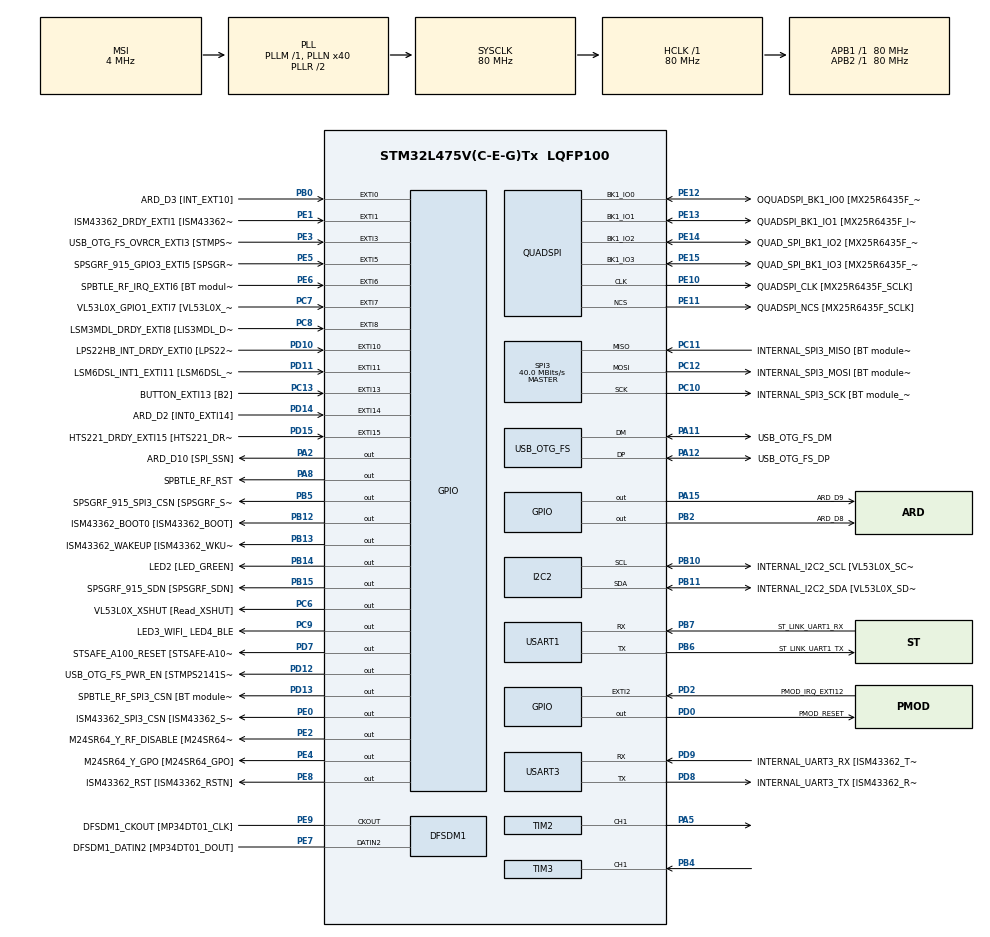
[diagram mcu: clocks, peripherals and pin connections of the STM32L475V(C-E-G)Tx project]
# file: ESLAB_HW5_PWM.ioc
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I2C2.Timing=0x10D19CE4
Mcu.Family=STM32L4
Mcu.Name=STM32L475V(C-E-G)Tx
Mcu.Package=LQFP100
NVIC.EXTI15_10_IRQn=true\:0\:0\:false\:false\:true\:true\:true\:true
NVIC.EXTI9_5_IRQn=true\:0\:0\:false\:false\:true\:true\:true\:true
NVIC.PriorityGroup=NVIC_PRIORITYGROUP_4
NVIC.TIM3_IRQn=true\:0\:0\:false\:false\:true\:true\:true\:true
PA0.GPIO_Label=ARD_D1 [UART4_TX]
PA0.Signal=UART4_TX
PA1.GPIO_Label=ARD_D0 [UART4_RX]
PA1.Signal=UART4_RX
PA10.GPIO_Label=USB_OTG_FS_ID
PA10.Signal=USB_OTG_FS_ID
PA11.GPIO_Label=USB_OTG_FS_DM
PA11.Mode=Device_Only
PA11.Signal=USB_OTG_FS_DM
PA12.GPIO_Label=USB_OTG_FS_DP
PA12.Mode=Device_Only
PA12.Signal=USB_OTG_FS_DP
PA13\ (JTMS-SWDIO).GPIO_Label=SYS_JTMS_SWDIO
PA13\ (JTMS-SWDIO).Mode=Serial_Wire
PA13\ (JTMS-SWDIO).Signal=SYS_JTMS-SWDIO
PA14\ (JTCK-SWCLK).GPIO_Label=SYS_JTCK_SWCLK
PA14\ (JTCK-SWCLK).Mode=Serial_Wire
PA14\ (JTCK-SWCLK).Signal=SYS_JTCK-SWCLK
PA15\ (JTDI).GPIO_Label=ARD_D9
PA15\ (JTDI).Signal=GPIO_Output
PA2.GPIO_Label=ARD_D10 [SPI_SSN]
PA2.Signal=GPIO_Output
PA3.GPIO_Label=ARD_D4
PA3.Signal=S_TIM2_CH4
PA4.GPIO_Label=ARD_D7
PA4.Signal=ADCx_IN9
PA5.Signal=S_TIM2_CH1
PA6.GPIO_Label=ARD_D12 [SPI1_MISO]
PA6.Signal=SPI1_MISO
PA7.GPIO_Label=ARD_D11 [SPI1_MOSI]
PA7.Signal=SPI1_MOSI
PA8.GPIO_Label=SPBTLE_RF_RST
PA8.Signal=GPIO_Output
PA9.GPIO_Label=USB_OTG_FS_VBUS [STMPS2141STR_OUT]
PA9.Signal=USB_OTG_FS_VBUS
PB0.GPIO_Label=ARD_D3 [INT_EXT10]
PB0.Signal=GPXTI0
PB1.GPIO_Label=ARD_D6 [ADC1_IN6]
PB1.Signal=ADCx_IN16
PB10.GPIO_Label=INTERNAL_I2C2_SCL [VL53L0X_SCL]
PB10.GPIO_Pu=GPIO_PULLUP
PB10.Mode=I2C
PB10.Signal=I2C2_SCL
PB11.GPIO_Label=INTERNAL_I2C2_SDA [VL53L0X_SDA]
PB11.GPIO_Pu=GPIO_PULLUP
PB11.Mode=I2C
PB11.Signal=I2C2_SDA
PB12.GPIO_Label=ISM43362_BOOT0 [ISM43362_BOOT]
PB12.Signal=GPIO_Output
PB13.GPIO_Label=ISM43362_WAKEUP [ISM43362_WKUP]
PB13.Signal=GPIO_Output
PB14.GPIO_Label=LED2 [LED_GREEN]
PB14.Signal=GPIO_Output
PB15.GPIO_Label=SPSGRF_915_SDN [SPSGRF_SDN]
PB15.Signal=GPIO_Output
PB2.GPIO_Label=ARD_D8
PB2.Signal=GPIO_Output
PB3\ (JTDO-TRACESWO).GPIO_Label=SYS_JTD0_SWO
PB3\ (JTDO-TRACESWO).Signal=SYS_JTDO-SWO
PB4\ (NJTRST).Signal=S_TIM3_CH1
PB5.GPIO_Label=SPSGRF_915_SPI3_CSN [SPSGRF_SPI_CS]
PB5.PinState=GPIO_PIN_SET
PB5.Signal=GPIO_Output
PB6.GPIO_Label=ST_LINK_UART1_TX
PB6.Mode=Asynchronous
PB6.Signal=USART1_TX
PB7.GPIO_Label=ST_LINK_UART1_RX
PB7.Mode=Asynchronous
PB7.Signal=USART1_RX
PB8.GPIO_Label=ARD_D15 [I2C1_SCL]
PB8.Signal=I2C1_SCL
PB9.GPIO_Label=ARD_D14 [I2C1_SDA]
PB9.Signal=I2C1_SDA
PC0.GPIO_Label=ARD_A5 [ADC]
PC0.Signal=ADCx_IN1
PC1.GPIO_Label=ARD_A4 [ADC]
PC1.Signal=ADCx_IN2
PC10.GPIO_Label=INTERNAL_SPI3_SCK [BT module_SPI_SCLK] [ISM43362_SCK]
PC10.Mode=Full_Duplex_Master
PC10.Signal=SPI3_SCK
PC11.GPIO_Label=INTERNAL_SPI3_MISO [BT module_SPI_MISO] [ISM43362_MISO]
PC11.Mode=Full_Duplex_Master
PC11.Signal=SPI3_MISO
PC12.GPIO_Label=INTERNAL_SPI3_MOSI [BT module_SPI_MOSI] [ISM43362_MOSI]
PC12.Mode=Full_Duplex_Master
PC12.Signal=SPI3_MOSI
PC13.GPIO_Label=BUTTON_EXTI13 [B2]
PC13.GPIO_ModeDefaultEXTI=GPIO_MODE_IT_FALLING
PC13.Signal=GPXTI13
PC14-OSC32_IN\ (PC14).Mode=LSE-External-Oscillator
PC14-OSC32_IN\ (PC14).Signal=RCC_OSC32_IN
PC15-OSC32_OUT\ (PC15).Mode=LSE-External-Oscillator
PC15-OSC32_OUT\ (PC15).Signal=RCC_OSC32_OUT
PC2.GPIO_Label=ARD_A3 [ADC]
PC2.Signal=ADCx_IN3
PC3.GPIO_Label=ARD_A2 [ADC]
PC3.Signal=ADCx_IN4
PC4.GPIO_Label=ARD_A1 [ADC]
PC4.Signal=ADCx_IN13
PC5.GPIO_Label=ARD_A0 [ADC]
PC5.Signal=ADCx_IN14
PC6.GPIO_Label=VL53L0X_XSHUT [Read_XSHUT]
PC6.Signal=GPIO_Output
PC7.GPIO_Label=VL53L0X_GPIO1_EXTI7 [VL53L0X_GPIO1]
PC7.Signal=GPXTI7
PC8.GPIO_Label=LSM3MDL_DRDY_EXTI8 [LIS3MDL_DRDY]
PC8.Signal=GPXTI8
PC9.GPIO_Label=LED3_WIFI_ LED4_BLE
PC9.Signal=GPIO_Output
PD0.GPIO_Label=PMOD_RESET
PD0.Signal=GPIO_Output
PD1.GPIO_Label=PMOD_SPI2_SCK
PD1.Signal=SPI2_SCK
PD10.GPIO_Label=LPS22HB_INT_DRDY_EXTI0 [LPS22HB_INT_DRDY] 
PD10.Signal=GPXTI10
PD11.GPIO_Label=LSM6DSL_INT1_EXTI11 [LSM6DSL_INT1]
PD11.Signal=GPXTI11
PD12.GPIO_Label=USB_OTG_FS_PWR_EN [STMPS2141STR_EN]
PD12.Signal=GPIO_Output
PD13.GPIO_Label=SPBTLE_RF_SPI3_CSN [BT module_SPI_CS]
PD13.PinState=GPIO_PIN_SET
PD13.Signal=GPIO_Output
PD14.GPIO_Label=ARD_D2 [INT0_EXTI14]
PD14.Signal=GPXTI14
PD15.GPIO_Label=HTS221_DRDY_EXTI15 [HTS221_DRDY]
PD15.Signal=GPXTI15
PD2.GPIO_Label=PMOD_IRQ_EXTI12
PD2.Signal=GPXTI2
PD3.GPIO_Label=PMOD_UART2_CTS
PD3.Signal=USART2_CTS
PD4.GPIO_Label=PMOD_UART2_RTS
PD4.Signal=USART2_RTS
PD5.GPIO_Label=PMOD_UART2_TX
PD5.Signal=USART2_TX
PD6.GPIO_Label=PMOD_UART2_RX
PD6.Signal=USART2_RX
PD7.GPIO_Label=STSAFE_A100_RESET [STSAFE-A100_RESET]
PD7.Signal=GPIO_Output
PD8.GPIO_Label=INTERNAL_UART3_TX [ISM43362_RX]
PD8.Mode=Asynchronous
PD8.Signal=USART3_TX
PD9.GPIO_Label=INTERNAL_UART3_RX [ISM43362_TX]
PD9.Mode=Asynchronous
PD9.Signal=USART3_RX
PE0.GPIO_Label=ISM43362_SPI3_CSN [ISM43362_SSN]
PE0.PinState=GPIO_PIN_SET
PE0.Signal=GPIO_Output
PE1.GPIO_Label=ISM43362_DRDY_EXTI1 [ISM43362_DATARDY]
PE1.Signal=GPXTI1
PE10.GPIO_Label=QUADSPI_CLK [MX25R6435F_SCLK]
PE10.Mode=Single Bank
PE10.Signal=QUADSPI_CLK
PE11.GPIO_Label=QUADSPI_NCS [MX25R6435F_SCLK]
PE11.Mode=Single Bank
PE11.Signal=QUADSPI_NCS
PE12.GPIO_Label=OQUADSPI_BK1_IO0 [MX25R6435F_IO0]
PE12.Mode=Single Bank
PE12.Signal=QUADSPI_BK1_IO0
PE13.GPIO_Label=QUADSPI_BK1_IO1 [MX25R6435F_IO1]
PE13.Mode=Single Bank
PE13.Signal=QUADSPI_BK1_IO1
PE14.GPIO_Label=QUAD_SPI_BK1_IO2 [MX25R6435F_IO2]
PE14.Mode=Single Bank
PE14.Signal=QUADSPI_BK1_IO2
PE15.GPIO_Label=QUAD_SPI_BK1_IO3 [MX25R6435F_IO3]
PE15.Mode=Single Bank
PE15.Signal=QUADSPI_BK1_IO3
PE2.GPIO_Label=M24SR64_Y_RF_DISABLE [M24SR64_RFDIS]
PE2.Signal=GPIO_Output
PE3.GPIO_Label=USB_OTG_FS_OVRCR_EXTI3 [STMPS2141STR_FAULT]
PE3.Signal=GPXTI3
PE4.GPIO_Label=M24SR64_Y_GPO [M24SR64_GPO]
PE4.Signal=GPIO_Output
PE5.GPIO_Label=SPSGRF_915_GPIO3_EXTI5 [SPSGRF_GPIO_3]
PE5.Signal=GPXTI5
PE6.GPIO_Label=SPBTLE_RF_IRQ_EXTI6 [BT module_SPI_IRQ]
PE6.Signal=GPXTI6
PE7.GPIO_Label=DFSDM1_DATIN2 [MP34DT01_DOUT]
PE7.Signal=S_DATAIN2DFSDM1
PE8.GPIO_Label=ISM43362_RST [ISM43362_RSTN]
PE8.Signal=GPIO_Output
PE9.GPIO_Label=DFSDM1_CKOUT [MP34DT01_CLK]
PE9.Signal=S_CKOUTDFSDM1
ProjectManager.HeapSize=0x200
ProjectManager.StackSize=0x400
ProjectManager.TargetToolchain=STM32CubeIDE
QUADSPI.ClockPrescaler=2
QUADSPI.FifoThreshold=4
QUADSPI.FlashSize=23
QUADSPI.SampleShifting=QSPI_SAMPLE_SHIFTING_HALFCYCLE
RCC.ADCFreq_Value=48000000
RCC.AHBFreq_Value=80000000
RCC.APB1Freq_Value=80000000
RCC.APB1TimFreq_Value=80000000
RCC.APB2Freq_Value=80000000
RCC.APB2TimFreq_Value=80000000
RCC.CortexFreq_Value=80000000
RCC.HCLKFreq_Value=80000000
RCC.HSE_VALUE=8000000
RCC.HSI_VALUE=16000000
RCC.MSI_VALUE=4000000
RCC.PLLN=40
RCC.PLLSAI1N=24
RCC.SYSCLKFreq_VALUE=80000000
RCC.SYSCLKSource=RCC_SYSCLKSOURCE_PLLCLK
RCC.USBFreq_Value=48000000
RCC.VCOOutputFreq_Value=160000000
SH.ADCx_IN1.0=ADC1_IN1
SH.ADCx_IN13.0=ADC1_IN13
SH.ADCx_IN14.0=ADC1_IN14
SH.ADCx_IN16.0=ADC1_IN16
SH.ADCx_IN2.0=ADC1_IN2
SH.ADCx_IN3.0=ADC1_IN3
SH.ADCx_IN4.0=ADC1_IN4
SH.ADCx_IN9.0=ADC1_IN9
SH.S_CKOUTDFSDM1.0=DFSDM1_CKOUT,CKOUT
SH.S_CKOUTDFSDM1.1=DFSDM1_CKOUT,PDM_SPI_Input_from_ch12_and_Internal_Clock
SH.S_DATAIN2DFSDM1.0=DFSDM1_DATIN2,PDM_SPI_Input_from_ch12_and_Internal_Clock
SH.S_TIM2_CH1.0=TIM2_CH1,PWM Generation1 CH1
SH.S_TIM2_CH4.0=TIM2_CH4
SH.S_TIM3_CH1.0=TIM3_CH1,Input_Capture1_from_TI1
SPI3.CalculateBaudRate=40.0 MBits/s
SPI3.Direction=SPI_DIRECTION_2LINES
SPI3.Mode=SPI_MODE_MASTER
SPI3.VirtualType=VM_MASTER
TIM2.AutoReloadPreload=TIM_AUTORELOAD_PRELOAD_ENABLE
TIM2.Channel-PWM\ Generation1\ CH1=TIM_CHANNEL_1
TIM2.Period=999
TIM2.Prescaler=79
TIM2.Pulse-PWM\ Generation1\ CH1=500
TIM3.Channel-Input_Capture1_from_TI1=TIM_CHANNEL_1
TIM3.Prescaler=79
USART1.VirtualMode-Asynchronous=VM_ASYNC
USART3.VirtualMode-Asynchronous=VM_ASYNC
USB_OTG_FS.VirtualMode=Device_Only
VP_TIM2_VS_ClockSourceINT.Mode=Internal
board=B-L475E-IOT01A1

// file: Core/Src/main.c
/* USER CODE BEGIN Header */
/**
  ******************************************************************************
  * @file           : main.c
  * @brief          : Main program body
  ******************************************************************************
  * @attention
  *
  * Copyright (c) 2026 STMicroelectronics.
  * All rights reserved.
  *
  * This software is licensed under terms that can be found in the LICENSE file
  * in the root directory of this software component.
  * If no LICENSE file comes with this software, it is provided AS-IS.
  *
  ******************************************************************************
  */
/* USER CODE END Header */
#include "main.h"
#include "dfsdm.h"
#include "i2c.h"
#include "quadspi.h"
#include "spi.h"
#include "tim.h"
#include "usart.h"
#include "usb_otg.h"
#include "gpio.h"

/* USER CODE BEGIN PV */

volatile uint32_t capture_prev = 0;
volatile uint32_t period_ticks = 0;
volatile uint32_t measured_frequency = 0;
volatile uint8_t capture_started = 0;

/* USER CODE END PV */

void SystemClock_Config(void);

int main(void)
{

  /* MCU Configuration--------------------------------------------------------*/

  /* Reset of all peripherals, Initializes the Flash interface and the Systick. */
  HAL_Init();

  /* Configure the system clock */
  SystemClock_Config();

  /* Initialize all configured peripherals */
  MX_GPIO_Init();
  MX_DFSDM1_Init();
  MX_I2C2_Init();
  MX_QUADSPI_Init();
  MX_SPI3_Init();
  MX_USART1_UART_Init();
  MX_USART3_UART_Init();
  MX_USB_OTG_FS_PCD_Init();
  MX_TIM2_Init();
  MX_TIM3_Init();
  /* USER CODE BEGIN 2 */
  HAL_TIM_PWM_Start(&htim2, TIM_CHANNEL_1);
  //__HAL_TIM_SET_COMPARE(&htim2, TIM_CHANNEL_1, 250);
  //__HAL_TIM_SET_COMPARE(&htim2, TIM_CHANNEL_1, 500);
  __HAL_TIM_SET_COMPARE(&htim2, TIM_CHANNEL_1, 750);
  HAL_TIM_IC_Start_IT(&htim3, TIM_CHANNEL_1);

  /* USER CODE END 2 */

  /* Infinite loop */
  while (1)
  {

  }
}

void SystemClock_Config(void)
{
  RCC_OscInitTypeDef RCC_OscInitStruct = {0};
  RCC_ClkInitTypeDef RCC_ClkInitStruct = {0};

  /** Configure the main internal regulator output voltage
  */
  if (HAL_PWREx_ControlVoltageScaling(PWR_REGULATOR_VOLTAGE_SCALE1) != HAL_OK)
  {
    Error_Handler();
  }

  /** Configure LSE Drive Capability
  */
  HAL_PWR_EnableBkUpAccess();
  __HAL_RCC_LSEDRIVE_CONFIG(RCC_LSEDRIVE_LOW);

  /** Initializes the RCC Oscillators according to the specified parameters
  * in the RCC_OscInitTypeDef structure.
  */
  RCC_OscInitStruct.OscillatorType = RCC_OSCILLATORTYPE_LSE|RCC_OSCILLATORTYPE_MSI;
  RCC_OscInitStruct.LSEState = RCC_LSE_ON;
  RCC_OscInitStruct.MSIState = RCC_MSI_ON;
  RCC_OscInitStruct.MSICalibrationValue = 0;
  RCC_OscInitStruct.MSIClockRange = RCC_MSIRANGE_6;
  RCC_OscInitStruct.PLL.PLLState = RCC_PLL_ON;
  RCC_OscInitStruct.PLL.PLLSource = RCC_PLLSOURCE_MSI;
  RCC_OscInitStruct.PLL.PLLM = 1;
  RCC_OscInitStruct.PLL.PLLN = 40;
  RCC_OscInitStruct.PLL.PLLP = RCC_PLLP_DIV7;
  RCC_OscInitStruct.PLL.PLLQ = RCC_PLLQ_DIV2;
  RCC_OscInitStruct.PLL.PLLR = RCC_PLLR_DIV2;
  if (HAL_RCC_OscConfig(&RCC_OscInitStruct) != HAL_OK)
  {
    Error_Handler();
  }

  /** Initializes the CPU, AHB and APB buses clocks
  */
  RCC_ClkInitStruct.ClockType = RCC_CLOCKTYPE_HCLK|RCC_CLOCKTYPE_SYSCLK
                              |RCC_CLOCKTYPE_PCLK1|RCC_CLOCKTYPE_PCLK2;
  RCC_ClkInitStruct.SYSCLKSource = RCC_SYSCLKSOURCE_PLLCLK;
  RCC_ClkInitStruct.AHBCLKDivider = RCC_SYSCLK_DIV1;
  RCC_ClkInitStruct.APB1CLKDivider = RCC_HCLK_DIV1;
  RCC_ClkInitStruct.APB2CLKDivider = RCC_HCLK_DIV1;

  if (HAL_RCC_ClockConfig(&RCC_ClkInitStruct, FLASH_LATENCY_4) != HAL_OK)
  {
    Error_Handler();
  }

  /** Enable MSI Auto calibration
  */
  HAL_RCCEx_EnableMSIPLLMode();
}

/* USER CODE BEGIN 4 */

void HAL_TIM_IC_CaptureCallback(TIM_HandleTypeDef *htim)
{
    if (htim->Instance == TIM3 &&
        htim->Channel == HAL_TIM_ACTIVE_CHANNEL_1)
    {
        uint32_t now =
            HAL_TIM_ReadCapturedValue(htim, TIM_CHANNEL_1);

        if (capture_started)
        {
            uint32_t diff =
                (now - capture_prev) & 0xFFFFU;

            if (diff > 0)
            {
                period_ticks = diff;
                measured_frequency = 1000000U / diff;
            }
        }

        capture_prev = now;
        capture_started = 1;
    }
}

/* USER CODE END 4 */

void Error_Handler(void)
{
  __disable_irq();
  while (1)
  {
  }
}
